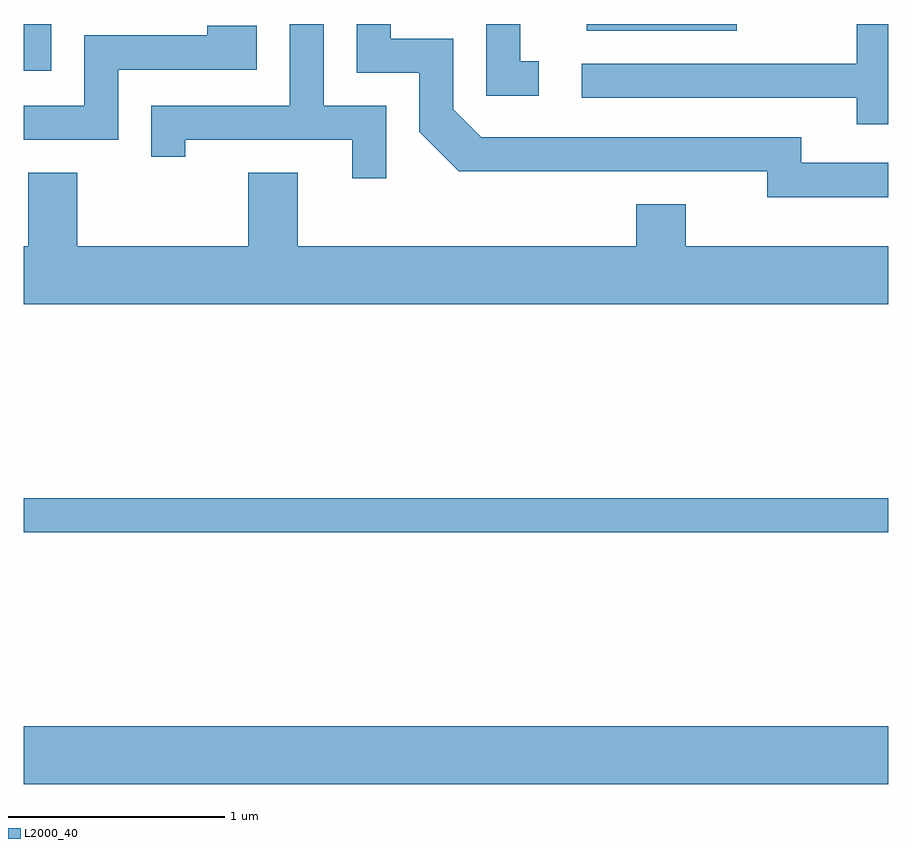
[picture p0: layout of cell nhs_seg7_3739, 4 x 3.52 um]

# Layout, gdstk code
import gdstk
lib = gdstk.Library(unit=1e-6, precision=1e-09)
def R(c, l, rs):  # rectangles x0, y0, x1, y1
    for r in rs: c.add(gdstk.rectangle(r[:2], r[2:], *l))
def P(c, l, *ps):  # polygons
    for p in ps: c.add(gdstk.Polygon(p, *l))
L2000_40 = (2000, 40)

nhs_seg7_3739 = lib.new_cell('nhs_seg7_3739')
R(nhs_seg7_3739, L2000_40, [(299.611,1738.736,303.611,1739.004), (299.611,1739.901,303.611,1740.059), (299.611,1742.036,299.739,1742.252), (302.216,1742.221,302.909,1742.252)])
P(nhs_seg7_3739, L2000_40, [(303.611,1742.252),(303.466,1742.252),(303.466,1742.069),(302.193,1742.069),(302.193,1741.911),(303.466,1741.911),(303.466,1741.788),(303.611,1741.788)],
  [(301.289,1741.874),(300.999,1741.874),(300.999,1742.252),(300.841,1742.252),(300.841,1741.874),(300.201,1741.874),(300.201,1741.638),(300.359,1741.638),(300.359,1741.716),(301.131,1741.716),(301.131,1741.538),(301.289,1741.538)],
  [(301.993,1742.079),(301.909,1742.079),(301.909,1742.252),(301.751,1742.252),(301.751,1741.921),(301.993,1741.921)],
  [(303.611,1741.609),(303.209,1741.609),(303.209,1741.729),(301.727,1741.729),(301.599,1741.857),(301.599,1742.184),(301.309,1742.184),(301.309,1742.252),(301.151,1742.252),(301.151,1742.026),(301.441,1742.026),(301.441,1741.754),(301.624,1741.571),(303.051,1741.571),(303.051,1741.451),(303.611,1741.451)],
  [(300.049,1742.041),(300.689,1742.041),(300.689,1742.244),(300.461,1742.244),(300.461,1742.199),(299.891,1742.199),(299.891,1741.874),(299.611,1741.874),(299.611,1741.716),(300.049,1741.716)],
  [(303.611,1741.224),(302.674,1741.224),(302.674,1741.419),(302.446,1741.419),(302.446,1741.224),(300.879,1741.224),(300.879,1741.564),(300.651,1741.564),(300.651,1741.224),(299.859,1741.224),(299.859,1741.564),(299.631,1741.564),(299.631,1741.224),(299.611,1741.224),(299.611,1740.956),(303.611,1740.956)])

lib.write_gds('nhs_seg7_3739.gds')
